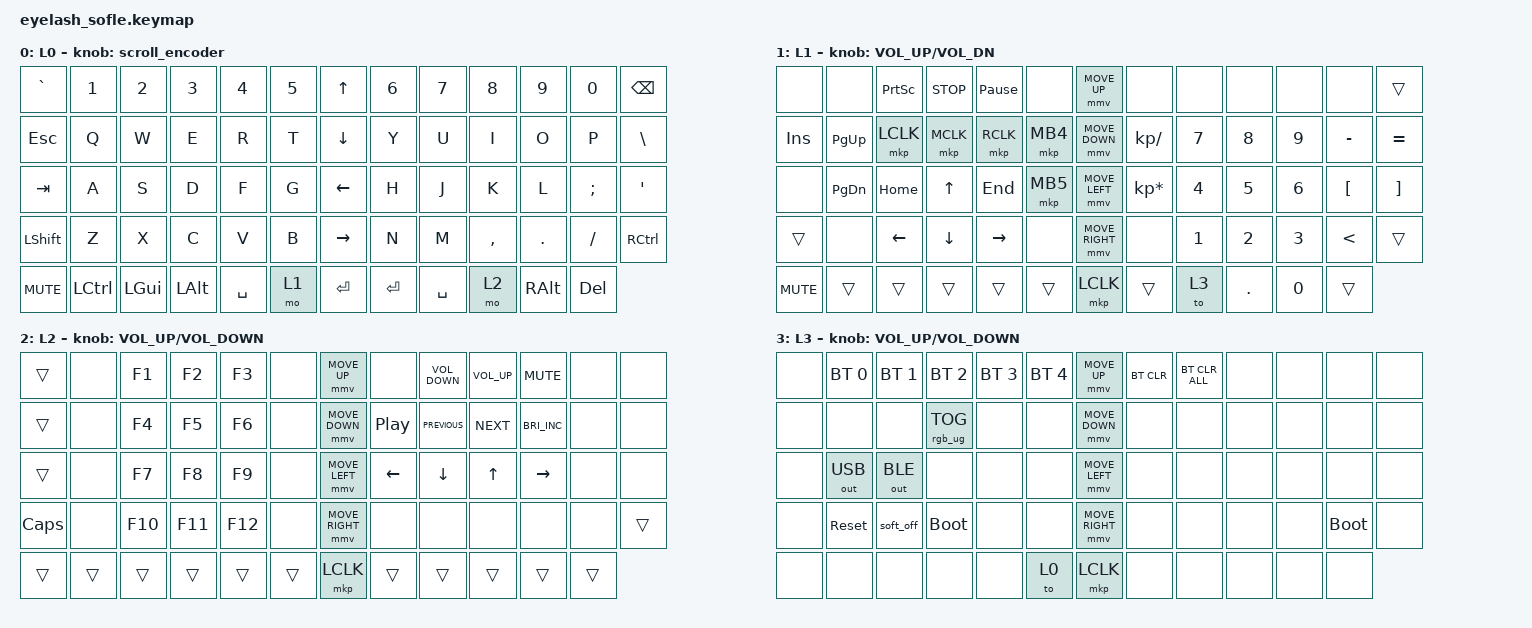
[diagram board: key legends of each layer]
#define ZMK_POINTING_DEFAULT_MOVE_VAL 1200  // 600
#define ZMK_POINTING_DEFAULT_SCRL_VAL 25   // 10

#include <input/processors.dtsi>
#include <zephyr/dt-bindings/input/input-event-codes.h>
#include <behaviors.dtsi>
#include <dt-bindings/zmk/bt.h>
#include <dt-bindings/zmk/keys.h>
#include <dt-bindings/zmk/outputs.h>
#include <dt-bindings/zmk/pointing.h>
#include <dt-bindings/zmk/rgb.h>

&mmv_input_listener { input-processors = <&zip_xy_scaler 2 1>; };

&msc_input_listener { input-processors = <&zip_scroll_scaler 2 1>; };

&msc {
    acceleration-exponent = <1>;      // 0
    time-to-max-speed-ms = <100>;       // 300
    delay-ms = <0>;                   // 0
};

&mmv {
    time-to-max-speed-ms = <500>;
    acceleration-exponent = <1>;
    trigger-period-ms = <16>;
};

&soft_off { hold-time-ms = <2000>; };

/ {
    scroll_encoder: scroll_encoder {
        compatible = "zmk,behavior-sensor-rotate";
        #sensor-binding-cells = <0>;
        bindings = <&msc SCRL_DOWN>, <&msc SCRL_UP>;

        tap-ms = <100>;
    };

    behaviors {
    };

    combos {
        compatible = "zmk,combos";

        softoff {
            bindings = <&soft_off>;
            key-positions = <14 28 40>;
        };

        gaming {
            bindings = <&none>;
            key-positions = <58 52>;
            layers = <3>;
        };
    };

    keymap {
        compatible = "zmk,keymap";

        layer0 {
            bindings = <
&kp GRAVE   &kp N1     &kp N2        &kp N3        &kp N4     &kp N5    &kp UP_ARROW     &kp N6     &kp N7     &kp N8     &kp N9         &kp N0      &kp BACKSPACE
&kp ESCAPE  &kp Q      &kp W         &kp E         &kp R      &kp T     &kp DOWN_ARROW   &kp Y      &kp U      &kp I      &kp O          &kp P       &kp BSLH
&kp TAB     &kp A      &kp S         &kp D         &kp F      &kp G     &kp LEFT_ARROW   &kp H      &kp J      &kp K      &kp L          &kp SEMI    &kp APOS
&kp LSHFT   &kp Z      &kp X         &kp C         &kp V      &kp B     &kp RIGHT_ARROW  &kp N      &kp M      &kp COMMA  &kp DOT        &kp FSLH    &kp RCTRL
&kp C_MUTE  &kp LCTRL  &kp LEFT_GUI  &kp LEFT_ALT  &kp SPACE  &mo 1     &kp ENTER        &kp ENTER  &kp SPACE  &mo 2      &kp RIGHT_ALT  &kp DELETE
            >;

            sensor-bindings = <&scroll_encoder>;
            display-name = "L0";
        };

        layer_1 {
            bindings = <
&none       &none          &kp PRINTSCREEN  &kp K_STOP      &kp PAUSE_BREAK  &none       &mmv MOVE_UP     &none            &none         &none         &none         &none             &trans
&kp INS     &kp PAGE_UP    &mkp LCLK        &mkp MCLK       &mkp RCLK        &mkp MB4    &mmv MOVE_DOWN   &kp KP_DIVIDE    &kp NUMBER_7  &kp NUMBER_8  &kp NUMBER_9  &kp MINUS         &kp EQUAL
&none       &kp PAGE_DOWN  &kp HOME         &kp UP_ARROW    &kp END          &mkp MB5    &mmv MOVE_LEFT   &kp KP_MULTIPLY  &kp NUMBER_4  &kp N5        &kp NUMBER_6  &kp LEFT_BRACKET  &kp RIGHT_BRACKET
&trans      &none          &kp LEFT_ARROW   &kp DOWN_ARROW  &kp RIGHT_ARROW  &none       &mmv MOVE_RIGHT  &none            &kp NUMBER_1  &kp NUMBER_2  &kp NUMBER_3  &kp LESS_THAN     &trans
&kp C_MUTE  &trans         &trans           &trans          &trans           &trans      &mkp LCLK        &trans           &to 3         &kp DOT       &kp N0        &trans
            >;

            display-name = "L1";
            sensor-bindings = <&inc_dec_kp C_VOLUME_UP C_VOL_DN>;
        };

        layer_2 {
            bindings = <
&trans        &none   &kp F1   &kp F2   &kp F3   &none     &mmv MOVE_UP     &none             &kp C_VOLUME_DOWN  &kp C_VOLUME_UP  &kp K_MUTE            &none   &none
&trans        &none   &kp F4   &kp F5   &kp F6   &none     &mmv MOVE_DOWN   &kp C_PLAY_PAUSE  &kp C_PREVIOUS     &kp C_NEXT       &kp C_BRIGHTNESS_INC  &none   &none
&trans        &none   &kp F7   &kp F8   &kp F9   &none     &mmv MOVE_LEFT   &kp LEFT_ARROW    &kp DOWN_ARROW     &kp UP_ARROW     &kp RIGHT             &none   &none
&kp CAPSLOCK  &none   &kp F10  &kp F11  &kp F12  &none     &mmv MOVE_RIGHT  &none             &none              &none            &none                 &none   &trans
&trans        &trans  &trans   &trans   &trans   &trans    &mkp LCLK        &trans            &trans             &trans           &trans                &trans
            >;

            display-name = "L2";
            sensor-bindings = <&inc_dec_kp C_VOLUME_UP C_VOLUME_DOWN>;
        };

        layer_3 {
            display-name = "L3";
            bindings = <
&none  &bt BT_SEL 0  &bt BT_SEL 1  &bt BT_SEL 2     &bt BT_SEL 3  &bt BT_SEL 4    &mmv MOVE_UP     &bt BT_CLR  &bt BT_CLR_ALL  &none  &none  &none        &none
&none  &none         &none         &rgb_ug RGB_TOG  &none         &none           &mmv MOVE_DOWN   &none       &none           &none  &none  &none        &none
&none  &out OUT_USB  &out OUT_BLE  &none            &none         &none           &mmv MOVE_LEFT   &none       &none           &none  &none  &none        &none
&none  &sys_reset    &soft_off     &bootloader      &none         &none           &mmv MOVE_RIGHT  &none       &none           &none  &none  &bootloader  &none
&none  &none         &none         &none            &none         &to 0           &mkp LCLK        &none       &none           &none  &none  &none
            >;

            sensor-bindings = <&inc_dec_kp C_VOLUME_UP C_VOLUME_DOWN>;
        };
    };

    conditional_layers {
        compatible = "zmk,conditional-layers";

        layer3 {
            if-layers = <1 2>;
            then-layer = <3>;
        };
    };
};
